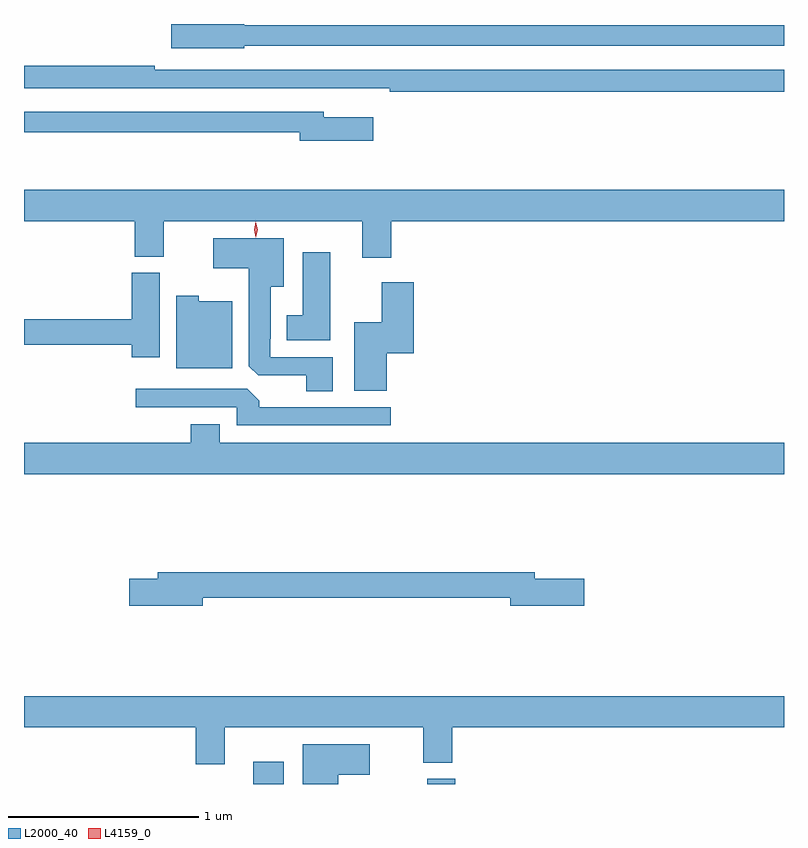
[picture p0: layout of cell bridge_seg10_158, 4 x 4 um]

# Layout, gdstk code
import gdstk
lib = gdstk.Library(unit=1e-6, precision=1e-09)
def R(c, l, rs):  # rectangles x0, y0, x1, y1
    for r in rs: c.add(gdstk.rectangle(r[:2], r[2:], *l))
def P(c, l, *ps):  # polygons
    for p in ps: c.add(gdstk.Polygon(p, *l))
L2000_40 = (2000, 40)
L4159_0 = (4159, 0)

bridge_seg10_158 = lib.new_cell('bridge_seg10_158')
R(bridge_seg10_158, L2000_40, [(251.015,1281.369,251.176,1281.487), (251.93,1281.369,252.077,1281.396)])
P(bridge_seg10_158, L2000_40, [(250.968,1285.254),(253.808,1285.254),(253.808,1285.363),(250.968,1285.363),(250.968,1285.369),(250.584,1285.369),(250.584,1285.241),(250.968,1285.241)],
  [(253.808,1285.128),(250.496,1285.128),(250.496,1285.148),(249.808,1285.148),(249.808,1285.032),(251.482,1285.032),(251.482,1285.031),(251.734,1285.031),(251.734,1285.012),(253.808,1285.012)],
  [(251.647,1284.877),(251.386,1284.877),(251.386,1284.906),(249.808,1284.906),(249.808,1284.798),(251.258,1284.798),(251.258,1284.755),(251.647,1284.755)],
  [(251.741,1284.332),(253.808,1284.332),(253.808,1284.496),(249.808,1284.496),(249.808,1284.332),(250.391,1284.332),(250.391,1284.145),(250.543,1284.145),(250.543,1284.332),(251.588,1284.332),(251.588,1284.138),(251.741,1284.138)],
  [(251.434,1283.616),(251.103,1283.616),(251.103,1283.713),(251.107,1283.713),(251.107,1283.987),(251.176,1283.987),(251.176,1284.241),(250.803,1284.241),(250.803,1284.083),(250.991,1284.083),(250.991,1283.569),(251.04,1283.52),(251.294,1283.52),(251.294,1283.437),(251.434,1283.437)],
  [(251.419,1284.169),(251.276,1284.169),(251.276,1283.836),(251.192,1283.836),(251.192,1283.705),(251.419,1283.705)],
  [(250.522,1284.06),(250.376,1284.06),(250.376,1283.816),(249.808,1283.816),(249.808,1283.68),(250.376,1283.68),(250.376,1283.616),(250.522,1283.616)],
  [(251.717,1283.636),(251.858,1283.636),(251.858,1284.01),(251.69,1284.01),(251.69,1283.799),(251.546,1283.799),(251.546,1283.439),(251.717,1283.439)],
  [(250.903,1283.911),(250.728,1283.911),(250.728,1283.938),(250.61,1283.938),(250.61,1283.558),(250.903,1283.558)],
  [(251.737,1283.352),(251.045,1283.352),(251.045,1283.386),(250.983,1283.448),(250.395,1283.448),(250.395,1283.352),(250.929,1283.352),(250.929,1283.256),(251.737,1283.256)],
  [(253.808,1283.164),(250.837,1283.164),(250.837,1283.263),(250.685,1283.263),(250.685,1283.164),(249.808,1283.164),(249.808,1283),(253.808,1283)],
  [(250.75,1282.348),(252.368,1282.348),(252.368,1282.306),(252.757,1282.306),(252.757,1282.448),(252.496,1282.448),(252.496,1282.484),(250.511,1282.484),(250.511,1282.448),(250.362,1282.448),(250.362,1282.306),(250.75,1282.306)],
  [(250.864,1281.668),(251.909,1281.668),(251.909,1281.481),(252.062,1281.481),(252.062,1281.668),(253.808,1281.668),(253.808,1281.832),(249.808,1281.832),(249.808,1281.668),(250.712,1281.668),(250.712,1281.474),(250.864,1281.474)],
  [(251.461,1281.419),(251.629,1281.419),(251.629,1281.577),(251.276,1281.577),(251.276,1281.369),(251.461,1281.369)])
P(bridge_seg10_158, L4159_0, [(251.029,1284.246),(251.029,1284.246),(251.019,1284.287),(251.029,1284.328),(251.029,1284.328),(251.029,1284.328),(251.039,1284.287),(251.029,1284.246)])

lib.write_gds('bridge_seg10_158.gds')
